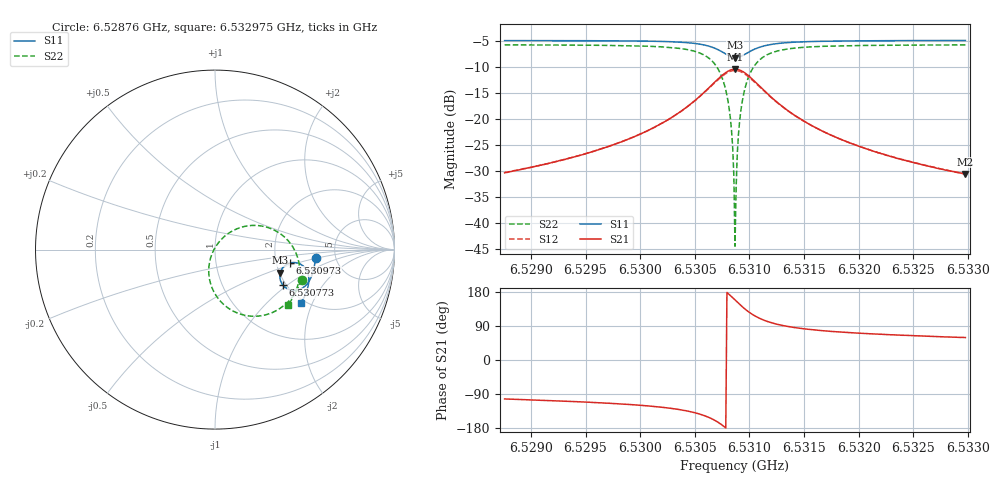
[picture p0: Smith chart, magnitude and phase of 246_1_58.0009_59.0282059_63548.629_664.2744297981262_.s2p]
#  HZ  S  RI  R  50.00
! Rohde & Schwarz Vector Network Analyzer
! Rohde-Schwarz,ZNB20-2Port,1311601062101988,3.16
! Created: UTC 3/21/2024, 1:01:15 AM
! freq[Hz]  re:S11  im:S11  re:S21  im:S21  re:S12  im:S12  re:S22  im:S22
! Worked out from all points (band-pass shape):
!   401 points, 6.52876 GHz to 6.532975 GHz, reference 50 ohm
!   highest |S21| = -10.48 dB at 6.530868 GHz (marker M1); lowest = -30.6 dB at 6.532975 GHz (marker M2)
!   |S21| within 3 dB of the highest: 6.530657 GHz to 6.531079 GHz (422 kHz wide, 0.00646 % of centre)
!   lowest |S11| = -8.3 dB at 6.530868 GHz (marker M3), VSWR 2.26, Z = 101 - j30.5 ohm
!   |S11| at or under -10 dB: nowhere
!   |S22| runs from -44.4 to -5.8 dB; largest |S21 - S12| = 0.012
!   S11 on the Smith chart (normalised r, x): 6.52876 GHz: 3.49, -0.49; 6.530773 GHz: 1.92, -0.92; 6.530973 GHz: 2.38, -0.43; 6.532975 GHz: 1.89, -1.65
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6.5287599e9  0.5602 -0.0475  -0.00674 -0.0295  -0.00732 -0.0295  0.4832 -0.1678
6.529466e9  0.5511 -0.1063  -0.0159 -0.0422  -0.0169 -0.0419  0.4525 -0.232
6.5301721e9  0.5241 -0.1762  -0.0487 -0.0725  -0.0508 -0.0713  0.372 -0.3213
6.5305936e9  0.4552 -0.2265  -0.1541 -0.0982  -0.1565 -0.0918  0.1697 -0.3666
6.530699e9  0.4111 -0.2221  -0.222 -0.0723  -0.2213 -0.0631  0.0554 -0.3118
6.5307728e9  0.3767 -0.1958  -0.2722 -0.0153  -0.2668 -0.00555  -0.0189 -0.2071
6.5308044e9  0.3661 -0.1762  -0.2854 0.0221  -0.2777 0.0309  -0.0339 -0.1422
6.5308255e9  0.3621 -0.1609  -0.2889 0.0507  -0.2796 0.0581  -0.0339 -0.0949
6.530836e9  0.3614 -0.1529  -0.2884 0.0656  -0.2788 0.0719  -0.0304 -0.0706
6.5308465e9  0.3615 -0.1445  -0.2865 0.0803  -0.2765 0.0861  -0.0248 -0.0467
6.5308571e9  0.3625 -0.1361  -0.2833 0.0952  -0.2728 0.1  -0.0165 -0.0231
6.5308676e9  0.3643 -0.1281  -0.2783 0.1098  -0.2679 0.1135  -0.00599 -0.000327
6.5308782e9  0.367 -0.1201  -0.2722 0.1237  -0.2615 0.1265  0.00684 0.0211
6.5308887e9  0.3707 -0.1126  -0.2646 0.1368  -0.2542 0.1387  0.0216 0.0413
6.5308992e9  0.375 -0.1055  -0.2559 0.1492  -0.2456 0.15  0.0381 0.0597
6.5309203e9  0.3855 -0.0932  -0.2357 0.1704  -0.2261 0.1698  0.0752 0.0908
6.530973e9  0.4176 -0.075  -0.1768 0.202  -0.17 0.1991  0.1776 0.1317
6.5310468e9  0.4595 -0.0746  -0.1031 0.2042  -0.0997 0.2012  0.3006 0.1209
6.5311522e9  0.4964 -0.0962  -0.0399 0.1742  -0.0382 0.1726  0.4026 0.0549
6.5315737e9  0.5228 -0.1752  0.015 0.0843  0.0162 0.084  0.472 -0.1338
6.5322798e9  0.5045 -0.247  0.0173 0.0403  0.0181 0.0402  0.4429 -0.2483
6.5329754e9  0.4782 -0.2991  0.0151 0.0254  0.0157 0.0251  0.4077 -0.3082
